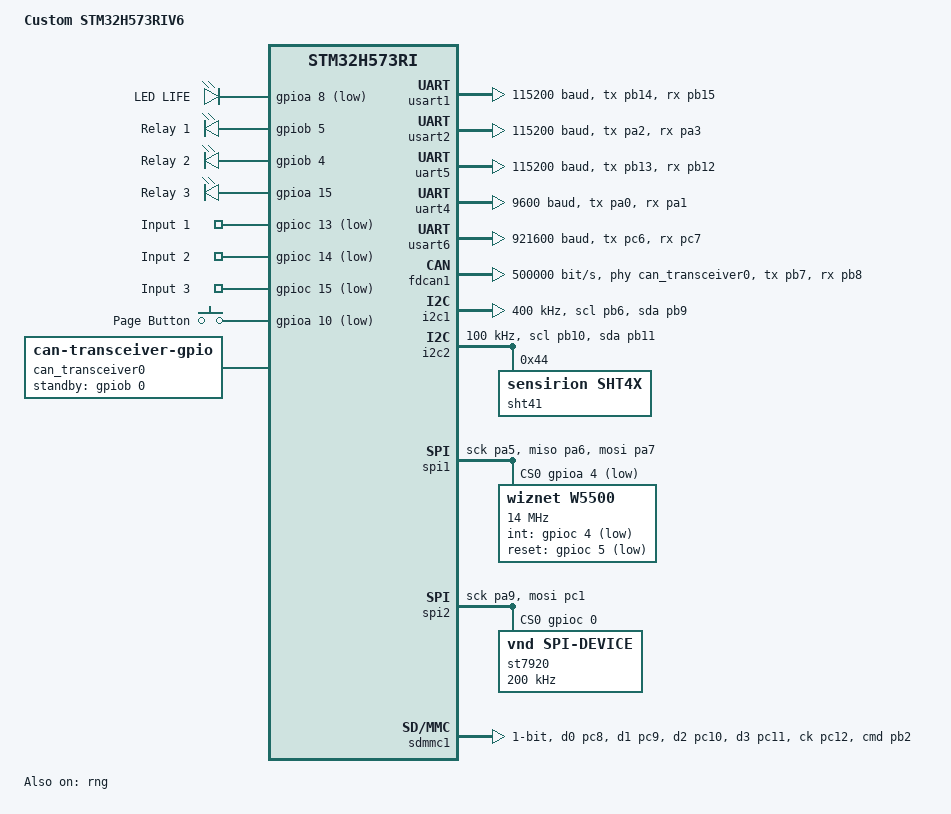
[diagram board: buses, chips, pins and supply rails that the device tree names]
/dts-v1/;
#include <st/h5/stm32h573Xi.dtsi>
#include "stm32h573ri_custom-pinctrl.dtsi"
/ {
    model="Custom STM32H573RIV6";
    compatible="st,stm32h573ri-custom";

    chosen {
        zephyr,console=&uart5;
        zephyr,shell-uart=&uart5;
        zephyr,sram=&sram1; zephyr,flash=&flash0;
        zephyr,code-partition=&slot0_partition;
        zephyr,canbus=&fdcan1;
        };

    leds {
        compatible="gpio-leds";
        /* LED5 "LED LIFE": anode to +3V3 via R81, cathode to PA8 -> active low */
        user_led: led_0 {
            gpios=<&gpioa 8 GPIO_ACTIVE_LOW>;
            label="LED LIFE";
        };
    };

    /*
     * Relays: MCU -> ISO7730 U12 -> BC817 -> coil, high = energised.
     * The schematic net names are reversed relative to the wiring; these
     * follow the wiring (PB5 drives RL1, PA15 drives RL3).
     */
    relays {
        compatible="gpio-leds";
        relay_1: relay_1 { gpios=<&gpiob 5 GPIO_ACTIVE_HIGH>;  label="Relay 1"; };
        relay_2: relay_2 { gpios=<&gpiob 4 GPIO_ACTIVE_HIGH>;  label="Relay 2"; };
        relay_3: relay_3 { gpios=<&gpioa 15 GPIO_ACTIVE_HIGH>; label="Relay 3"; };
    };

    /* Isolated inputs: PC814 opto -> ISO7730 U10 (push-pull), energised = low */
    digital_inputs {
        compatible="gpio-keys";
        input_1: input_1 { gpios=<&gpioc 13 GPIO_ACTIVE_LOW>; label="Input 1"; };
        input_2: input_2 { gpios=<&gpioc 14 GPIO_ACTIVE_LOW>; label="Input 2"; };
        input_3: input_3 { gpios=<&gpioc 15 GPIO_ACTIVE_LOW>; label="Input 3"; };
    };

    buttons {
        compatible = "gpio-keys";
        user_btn: button_0 {
            gpios = <&gpioa 10 (GPIO_ACTIVE_LOW | GPIO_PULL_UP)>;
            label = "Page Button";
        };
    };

    can_transceiver0: can-phy0 {
        compatible="can-transceiver-gpio";
        /* TCAN1057 S via ISO7731 U7, R90 pull-up: high = silent */
        standby-gpios=<&gpiob 0 GPIO_ACTIVE_HIGH>;
        max-bitrate=<1000000>;
        #phy-cells=<0>;
        };

    aliases {
        led0=&user_led;
        relay1=&relay_1; relay2=&relay_2; relay3=&relay_3;
        input1=&input_1; input2=&input_2; input3=&input_3;
    };
};

&clk_hsi { status="okay"; };

&clk_hsi48 { status="okay"; };

&clk_lsi { status="okay"; };

&pll1 {
    div-m=<32>;
    mul-n=<250>;
    div-p=<2>;
    div-q=<10>;
    div-r=<2>;
    clocks=<&clk_hsi>;
    status="okay";
};

&rcc {
    clocks=<&pll1>;
    clock-frequency=<DT_FREQ_M(250)>;
    ahb-prescaler=<1>;
    apb1-prescaler=<1>;
    apb2-prescaler=<1>;
    apb3-prescaler=<1>;
    };

&flash0 {
    partitions {
        compatible="fixed-partitions";
        #address-cells=<1>;
        #size-cells=<1>;

boot_partition:      partition@0      { label="mcuboot";       reg=<0x0      0x20000>; read-only; };
slot0_partition:     partition@20000  { label="image-0";       reg=<0x20000  0xb0000>; };
scratch_partition:   partition@d0000  { label="image-scratch"; reg=<0xd0000  0x20000>; };
slot1_partition:     partition@f0000  { label="image-1";       reg=<0xf0000  0xb0000>; };
storage_partition:   partition@1a0000 { label="config-a";      reg=<0x1a0000 0x8000>; };
storage_b_partition: partition@1a8000 { label="config-b";      reg=<0x1a8000 0x8000>; };
marker_partition:    partition@1b0000 { label="swapmark";      reg=<0x1b0000 0x2000>; }; }; };


&usart1 {
    pinctrl-0=<&usart1_tx_pb14 &usart1_rx_pb15>;
    pinctrl-names="default";
    current-speed=<115200>;
    status="okay";
    };

&usart2 {
    pinctrl-0=<&usart2_tx_pa2 &usart2_rx_pa3>;
    pinctrl-names="default";
    current-speed=<115200>;
    status="okay";
    };

&uart5 {
    pinctrl-0=<&uart5_tx_pb13 &uart5_rx_pb12>;
    pinctrl-names="default";
    current-speed=<115200>;
    status="okay";
    };

&uart4 {
    pinctrl-0=<&uart4_tx_pa0 &uart4_rx_pa1>;
    pinctrl-names="default";
    current-speed=<9600>;
    status="okay";
    };

&usart6 {
    pinctrl-0=<&usart6_tx_pc6 &usart6_rx_pc7>;
    pinctrl-names="default";
    current-speed=<921600>;
    status="okay";
    };

&fdcan1 {
    clocks=<&rcc STM32_CLOCK_BUS_APB1_2 0x00000200>,<&rcc STM32_SRC_PLL1_Q FDCAN_SEL(1)>;
    pinctrl-0=<&fdcan1_tx_pb7 &fdcan1_rx_pb8>;
    pinctrl-names="default";
    phys=<&can_transceiver0>;
    bitrate=<500000>;
    sample-point=<875>;
    status="okay";
    };

&i2c1 {
    clocks=<&rcc STM32_CLOCK_BUS_APB1 0x00200000>,<&rcc STM32_SRC_HSI I2C1_SEL(2)>;
    pinctrl-0=<&i2c1_scl_pb6 &i2c1_sda_pb9>;
    pinctrl-names="default";
    clock-frequency=<I2C_BITRATE_FAST>;
    status="okay";
    };

&i2c2 {
    clocks=<&rcc STM32_CLOCK_BUS_APB1 0x00400000>,<&rcc STM32_SRC_HSI I2C2_SEL(2)>;
    pinctrl-0=<&i2c2_scl_pb10 &i2c2_sda_pb11>;
    pinctrl-names="default";
    clock-frequency=<I2C_BITRATE_STANDARD>;
    status="okay";

    sht41: sht4x@44 {
        compatible="sensirion,sht4x";
        reg=<0x44>; repeatability=<2>;
        };
    };

&spi1 {
    pinctrl-0=<&spi1_sck_pa5 &spi1_miso_pa6 &spi1_mosi_pa7>;
    pinctrl-names="default";
    cs-gpios=<&gpioa 4 GPIO_ACTIVE_LOW>;
    status="okay";

    w5500: w5500@0 {
        compatible="wiznet,w5500";
        reg=<0>; spi-max-frequency=<14000000>;
        int-gpios=<&gpioc 4 GPIO_ACTIVE_LOW>;
        reset-gpios=<&gpioc 5 GPIO_ACTIVE_LOW>;
        local-mac-address=[00 08 DC 01 02 03];
        };
    };

&spi2 {
    /* Kernel clock = PLL1_Q (50 MHz): /256 gives ~195 kHz for the ST7920.
     * With the bus clock alone the driver divides 250 MHz and cannot go
     * below ~977 kHz, so every transfer is rejected. */
    clocks=<&rcc STM32_CLOCK_BUS_APB1 0x00004000>,<&rcc STM32_SRC_PLL1_Q SPI2_SEL(0)>;
    pinctrl-0 = <&spi2_sck_pa9 &spi2_mosi_pc1>;
    pinctrl-names = "default";
    cs-gpios = <&gpioc 0 GPIO_ACTIVE_HIGH>;
    status = "okay";

    st7920: st7920@0 {
        compatible = "vnd,spi-device";
        reg = <0>;
        spi-max-frequency = <200000>;
        };
    };

&sdmmc1 {
    pinctrl-0=<&sdmmc1_d0_pc8 &sdmmc1_d1_pc9 &sdmmc1_d2_pc10 &sdmmc1_d3_pc11 &sdmmc1_ck_pc12 &sdmmc1_cmd_pb2>;
    pinctrl-names="default";
    clocks=<&rcc STM32_CLOCK(AHB4, 11U)>,<&rcc STM32_SRC_HSI48 SDMMC1_SEL(0)>;
    bus-width=<1>; disk-name="SD"; status="okay";
    };

&gpioa { status="okay"; };

&gpiob { status="okay"; };

&gpioc { status="okay"; };

&gpiod { status="okay"; };

&rng { status="okay"; };
